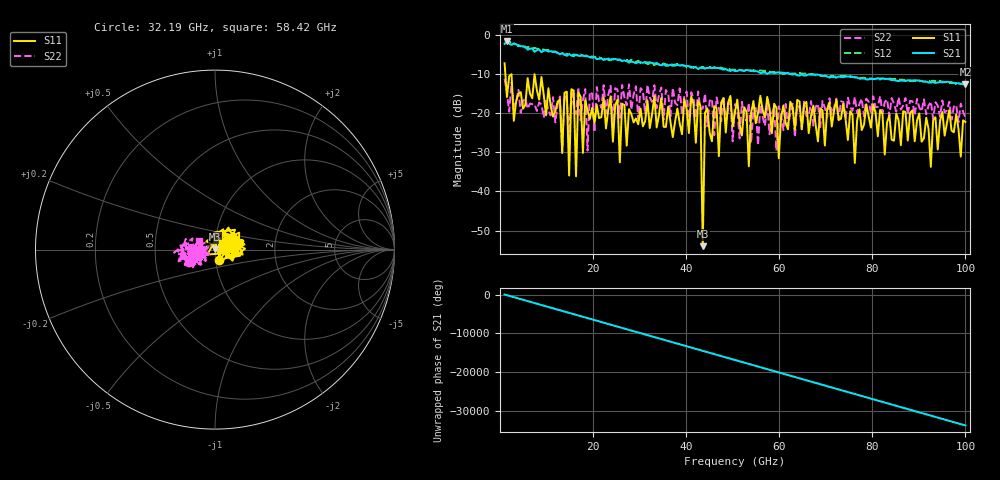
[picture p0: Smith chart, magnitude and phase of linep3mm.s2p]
!Created with skrf (http://scikit-rf.org).
# GHz S RI R 50.0
!freq ReS11 ImS11 ReS21 ImS21 ReS12 ImS12 ReS22 ImS22
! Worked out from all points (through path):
!   201 points, 1 GHz to 100 GHz, reference 50 ohm
!   highest |S21| = -1.52 dB at 1.495 GHz (marker M1); lowest = -12.6 dB at 100 GHz (marker M2)
!   lowest |S11| = -54.0 dB at 43.57 GHz (marker M3), VSWR 1.00, Z = 50.2 + j0.0916 ohm
!   |S11| at or under -10 dB: 1.162 GHz to 2.462 GHz (1.3 GHz wide, 71.8 % of centre); 2.486 GHz to 7.433 GHz (4.947 GHz wide, 99.7 % of centre); 7.438 GHz to end of sweep
!   |S22| runs from -29.8 to -11.2 dB; largest |S21 - S12| = 0.11
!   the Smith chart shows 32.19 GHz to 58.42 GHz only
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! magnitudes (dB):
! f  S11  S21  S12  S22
! 1 GHz  -7.2  -2.2  -1.4  -11.2
! 1.495 GHz  -15.8  -1.5  -1.5  -14.6
! 8.92 GHz  -10.7  -4.3  -3.5  -17.8
! 13.38 GHz  -30.2  -4.6  -4.6  -29.8
! 14.37 GHz  -14.5  -5.3  -4.8  -16.3
! 14.86 GHz  -35.9  -4.8  -4.9  -26.5
! 15.85 GHz  -14.2  -5.4  -4.9  -18.1
! 16.34 GHz  -36.1  -5.0  -5.1  -20.2
! 16.84 GHz  -14.6  -5.3  -5.3  -13.4
! 17.83 GHz  -30.1  -5.2  -5.3  -16.6
! 34.16 GHz  -20.5  -7.5  -7.4  -15.2
! 43.08 GHz  -18.1  -8.3  -8.3  -19.0
! 43.57 GHz  -54.0  -8.4  -8.1  -18.8
! 44.06 GHz  -19.9  -8.6  -8.4  -15.0
! 50.5 GHz  -19.6  -9.2  -8.8  -17.7
! 53.47 GHz  -33.6  -9.0  -9.1  -17.3
! 54.46 GHz  -16.8  -9.2  -9.0  -19.0
! 59.91 GHz  -31.5  -9.5  -9.7  -18.2
! 67.33 GHz  -18.0  -10.1  -10.0  -23.2
! 76.24 GHz  -32.7  -10.8  -10.8  -15.8
! 83.67 GHz  -20.5  -11.3  -11.0  -20.7
! 100 GHz  -22.2  -12.6  -12.4  -21.0
